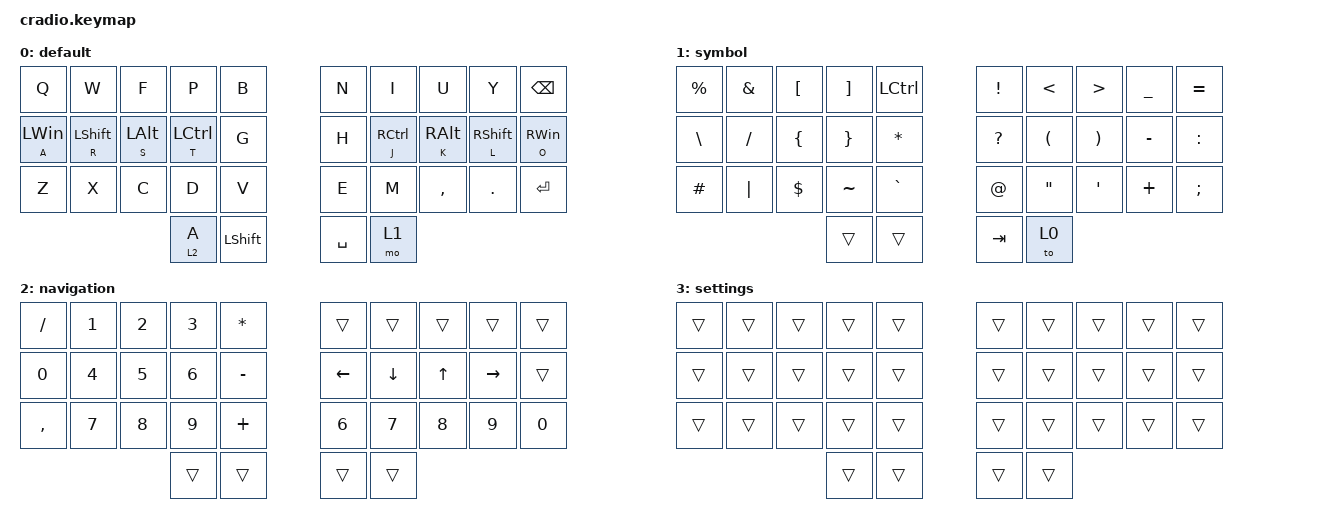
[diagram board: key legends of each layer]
// Copyright (c) 2022 The ZMK Contributors
// SPDX-License-Identifier: MIT

#include <behaviors.dtsi>
#include <dt-bindings/zmk/keys.h>

/ {
    conditional_layers { compatible = "zmk,conditional-layers"; };

    combos {
        compatible = "zmk,combos";

        esc {
            bindings = <&kp ESC>;
            key-positions = <31 32>;
        };

        settingt {
            bindings = <&tog 3>;
            key-positions = <31 4 5 32>;
        };
    };

    keymap {
        compatible = "zmk,keymap";

        default {
            bindings = <
&kp Q           &kp W             &kp F           &kp P        &kp B             &kp N      &kp I        &kp U            &kp Y              &kp BSPC
&mt A LEFT_WIN  &mt R LEFT_SHIFT  &mt S LEFT_ALT  &mt T LCTRL  &kp G             &kp H      &mt J RCTRL  &mt K RIGHT_ALT  &mt L RIGHT_SHIFT  &mt O RIGHT_WIN
&kp Z           &kp X             &kp C           &kp D        &kp V             &kp E      &kp M        &kp COMMA        &kp DOT            &kp ENTER
                                                  &lt 2 A      &kp LEFT_SHIFT    &kp SPACE  &mo 1
            >;
        };

        symbol {
            bindings = <
&kp PERCENT  &kp AMPERSAND  &kp LBKT        &kp RBKT         &kp LCTRL       &kp EXCLAMATION  &kp LESS_THAN         &kp GREATER_THAN       &kp UNDERSCORE  &kp EQUAL
&kp BSLH     &kp FSLH       &kp LEFT_BRACE  &kp RIGHT_BRACE  &kp ASTERISK    &kp QUESTION     &kp LEFT_PARENTHESIS  &kp RIGHT_PARENTHESIS  &kp MINUS       &kp COLON
&kp HASH     &kp PIPE       &kp DOLLAR      &kp TILDE        &kp GRAVE       &kp AT_SIGN      &kp DOUBLE_QUOTES     &kp SQT                &kp PLUS        &kp SEMI
                                            &trans           &trans          &kp TAB          &to 0
            >;
        };

        navigation {
            bindings = <
&kp SLASH  &kp NUMBER_1  &kp NUMBER_2  &kp NUMBER_3  &kp ASTERISK    &trans          &trans          &trans        &trans     &trans
&kp N0     &kp NUMBER_4  &kp N5        &kp NUMBER_6  &kp MINUS       &kp LEFT_ARROW  &kp DOWN_ARROW  &kp UP_ARROW  &kp RIGHT  &trans
&kp COMMA  &kp N7        &kp NUMBER_8  &kp N9        &kp PLUS        &kp N6          &kp N7          &kp N8        &kp N9     &kp N0
                                       &trans        &trans          &trans          &trans
            >;
        };

        settings {
            bindings = <
&trans  &trans  &trans  &trans  &trans    &trans  &trans  &trans  &trans  &trans
&trans  &trans  &trans  &trans  &trans    &trans  &trans  &trans  &trans  &trans
&trans  &trans  &trans  &trans  &trans    &trans  &trans  &trans  &trans  &trans
                        &trans  &trans    &trans  &trans
            >;
        };
    };
};
